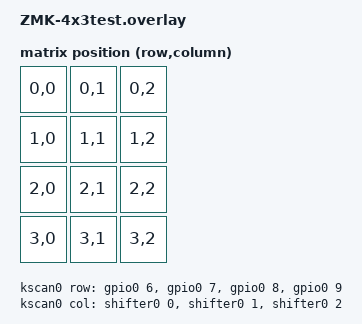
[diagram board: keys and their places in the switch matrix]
/*
Pico GPIO2  → SER (DS)
Pico GPIO3  → SRCLK
Pico GPIO5  → RCLK (同時為 CS)
OE → GND
MR → VCC
Q0 → Row 0
Q1 → Row 1
Q2 → Row 2
Q3–Q7 → 留作未來擴充
Column 0 – Column 3 → 直接接 Pico GPIO6–9
*/

#include <dt-bindings/zmk/matrix_transform.h>
#include "ZMK-4x3test-layouts.dtsi"


/* ---------- SPI 總線與 74HC595 定義 ---------- */
&spi0 {
    status = "okay";
    cs-gpios = <&gpio0 5 GPIO_ACTIVE_LOW>; 

    shifter0: gpio_ext_595@0 {
        compatible = "zmk,gpio-595";
        status = "okay";
        gpio-controller;
        spi-max-frequency = <200000>;
        reg = <0>;
        #gpio-cells = <2>;
        ngpios = <8>;
    };  
};

/ {
    chosen {
        zmk,kscan = &kscan0;
        zmk,physical-layout = &physical_layout0;
        zmk,matrix-transform = &default_transform;
    };

    physical_layout0 {
        kscan = <&kscan0>; // Label of the kscan node this layout uses
        transform = <&default_transform>; // Label of the matrix transform this layout uses
    };

    default_transform: keymap_transform0 {
        compatible = "zmk,matrix-transform";
        columns = <3>; // Length of the "col-gpios" array
        rows = <4>; // Length of the "row-gpios" array
        map = <
            RC(0,0) RC(0,1) RC(0,2)
            RC(1,0) RC(1,1) RC(1,2)
            RC(2,0) RC(2,1) RC(2,2)
            RC(3,0) RC(3,1) RC(3,2)
        >;
    };

    /* ---------- 鍵盤矩陣定義 ---------- */
    kscan0: kscan_0 {
        compatible = "zmk,kscan-gpio-matrix";
        diode-direction = "row2col"; // !DIODE!

        col-gpios = <&shifter0 0 GPIO_ACTIVE_HIGH>,
                    <&shifter0 1 GPIO_ACTIVE_HIGH>,
                    <&shifter0 2 GPIO_ACTIVE_HIGH>;

        row-gpios = <&gpio0 6 GPIO_ACTIVE_HIGH>,
                    <&gpio0 7 GPIO_ACTIVE_HIGH>,
                    <&gpio0 8 GPIO_ACTIVE_HIGH>,
                    <&gpio0 9 GPIO_ACTIVE_HIGH>;

        debounce-press-ms = <1>;
        debounce-release-ms = <1>;
        poll-period-ms = <1>;
    };
};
